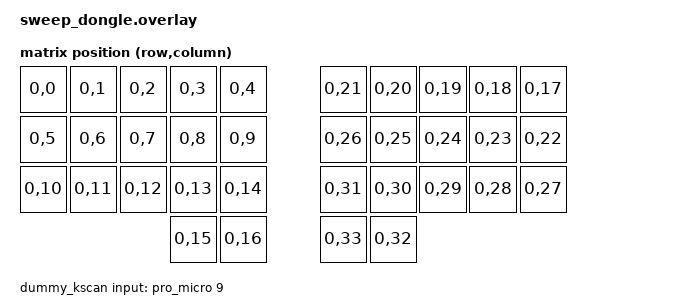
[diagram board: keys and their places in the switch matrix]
/*
 * Донгл: nice!nano v2 + WeAct Studio 1.54" e-paper (SSD1681, 200x200).
 *
 * Распиновка выбрана так, чтобы не трогать NFC-выводы P0.09 (D10) и
 * P0.10 (D16): CONFIG_NFCT_PINS_AS_GPIO в дереве ZMK нигде не включается,
 * поэтому как GPIO они недоступны. Штатный spi1_default у nice!nano как раз
 * сажает MOSI на P0.10 — ниже он переопределяется.
 *
 *   SCL  (SCK)  -> D15  P1.13
 *   SDA  (MOSI) -> D14  P1.11   (штатный MISO; SSD1681 ничего не отдаёт)
 *   CS          -> D2   P0.17
 *   D/C         -> D3   P0.20
 *   RES         -> D4   P0.22
 *   BUSY        -> D5   P0.24
 *   VCC         -> VCC (3.3 В, за ключом EXT_POWER на P0.13)
 *   GND         -> GND
 */

#include <dt-bindings/zmk/matrix_transform.h>
#include <zephyr/dt-bindings/mipi_dbi/mipi_dbi.h>

/ {
    chosen {
        zmk,kscan = &dummy_kscan;
        zmk,matrix-transform = &default_transform;
        zephyr,display = &epaper;
    };

    /*
     * Донгл — central, раскладка исполняется здесь, поэтому нужна карта на все
     * 34 позиции Sweep. Половинки присылают уже готовые глобальные позиции
     * (правая — со сдвигом col-offset = 17), так что карта совпадает с
     * cradio.dtsi один в один.
     */
    default_transform: keymap_transform_0 {
        compatible = "zmk,matrix-transform";
        columns = <34>;
        rows = <1>;
        map = <
        RC(0,0)  RC(0,1)  RC(0,2)  RC(0,3)  RC(0,4)    RC(0,21) RC(0,20) RC(0,19) RC(0,18) RC(0,17)
        RC(0,5)  RC(0,6)  RC(0,7)  RC(0,8)  RC(0,9)    RC(0,26) RC(0,25) RC(0,24) RC(0,23) RC(0,22)
        RC(0,10) RC(0,11) RC(0,12) RC(0,13) RC(0,14)   RC(0,31) RC(0,30) RC(0,29) RC(0,28) RC(0,27)
                                   RC(0,15) RC(0,16)   RC(0,33) RC(0,32)
        >;
    };

    /*
     * Клавиш у донгла нет, но ZMK требует kscan. zmk,kscan-mock не подходит:
     * без свойства events он не собирается (DT_N_S_kscan_P_events_LEN), а
     * задержку события в нём кодируют 15 бит — дольше 32.7 с не отложить.
     * Поэтому обычный direct-драйвер на один физически не разведённый вывод:
     * подтяжка вверх, событий не будет никогда.
     */
    dummy_kscan: kscan {
        compatible = "zmk,kscan-gpio-direct";
        input-gpios = <&pro_micro 9 (GPIO_ACTIVE_LOW | GPIO_PULL_UP)>;
    };
};

&pinctrl {
    /* Переопределяем штатный spi1: MOSI уводим с NFC-пина P0.10 на P1.11,
       MISO не заявляем вообще — панель однонаправленная. */
    spi1_default: spi1_default {
        group1 {
            psels = <NRF_PSEL(SPIM_SCK, 1, 13)>,
                    <NRF_PSEL(SPIM_MOSI, 1, 11)>;
        };
    };

    spi1_sleep: spi1_sleep {
        group1 {
            psels = <NRF_PSEL(SPIM_SCK, 1, 13)>,
                    <NRF_PSEL(SPIM_MOSI, 1, 11)>;
            low-power-enable;
        };
    };
};

&spi1 {
    status = "okay";
    compatible = "nordic,nrf-spim";
    cs-gpios = <&gpio0 17 GPIO_ACTIVE_LOW>;
};

/ {
    /* В Zephyr 4.1 ssd16xx работает через MIPI DBI. Полярность D/C здесь
       обратная: драйвер ставит 0 на команду и 1 на данные. */
    mipi_dbi {
        compatible = "zephyr,mipi-dbi-spi";
        spi-dev = <&spi1>;
        dc-gpios = <&gpio0 20 GPIO_ACTIVE_HIGH>;
        reset-gpios = <&gpio0 22 GPIO_ACTIVE_LOW>;
        #address-cells = <1>;
        #size-cells = <0>;

        epaper: ssd1681@0 {
            compatible = "solomon,ssd1681";
            reg = <0>;
            mipi-max-frequency = <4000000>;
            width = <200>;
            height = <200>;

            busy-gpios = <&gpio0 24 GPIO_ACTIVE_HIGH>;

            tssv = <0x80>;

            /* Модуль стоит развёрнутым. 180° даёт тот же scan_mode XIYDY,
               что и прежнее orientation-flipped. */
            rotation = <180>;

            /* Профили обновления. Партиал в драйвере ssd16xx выключен,
               пока нет узла partial — даже пустого. */
            full {
                border-waveform = <0x05>;
            };

            partial {
                border-waveform = <0x3c>;
            };
        };
    };
};

/* CDC-ACM для канала «агент на маке -> донгл», по образцу штатного
   сниппета studio-rpc-usb-uart. */
&zephyr_udc0 {
    host_cdc: host_cdc {
        compatible = "zephyr,cdc-acm-uart";
    };
};
